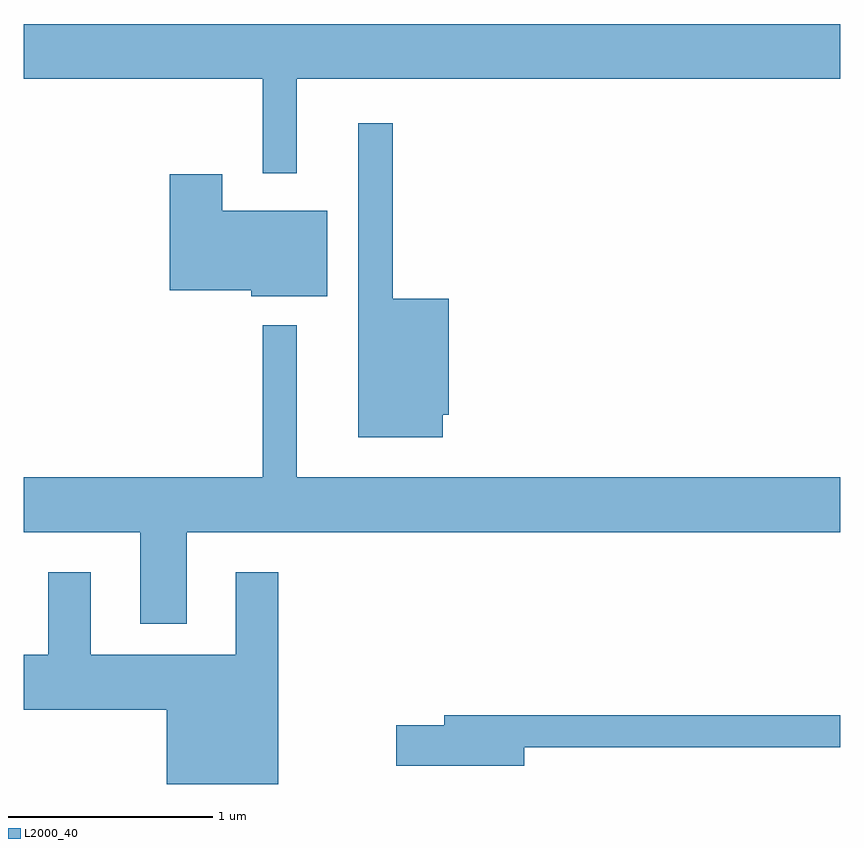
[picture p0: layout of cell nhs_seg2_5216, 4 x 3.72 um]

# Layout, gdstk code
import gdstk
lib = gdstk.Library(unit=1e-6, precision=1e-09)
def P(c, l, *ps):  # polygons
    for p in ps: c.add(gdstk.Polygon(p, *l))
L2000_40 = (2000, 40)

nhs_seg2_5216 = lib.new_cell('nhs_seg2_5216')
P(nhs_seg2_5216, L2000_40, [(340.949,997.256),(343.611,997.256),(343.611,997.524),(339.611,997.524),(339.611,997.256),(340.781,997.256),(340.781,996.793),(340.949,996.793)],
  [(341.664,995.611),(341.694,995.611),(341.694,996.179),(341.419,996.179),(341.419,997.038),(341.251,997.038),(341.251,995.501),(341.664,995.501)],
  [(341.099,996.609),(340.584,996.609),(340.584,996.789),(340.326,996.789),(340.326,996.221),(340.726,996.221),(340.726,996.191),(341.099,996.191)],
  [(340.409,995.036),(343.611,995.036),(343.611,995.304),(340.949,995.304),(340.949,996.048),(340.781,996.048),(340.781,995.304),(339.611,995.304),(339.611,995.036),(340.181,995.036),(340.181,994.586),(340.409,994.586)],
  [(340.859,994.839),(340.651,994.839),(340.651,994.434),(339.939,994.434),(339.939,994.839),(339.731,994.839),(339.731,994.434),(339.611,994.434),(339.611,994.166),(340.311,994.166),(340.311,993.802),(340.859,993.802)],
  [(342.064,993.981),(343.611,993.981),(343.611,994.139),(341.671,994.139),(341.671,994.089),(341.436,994.089),(341.436,993.891),(342.064,993.891)])

lib.write_gds('nhs_seg2_5216.gds')
